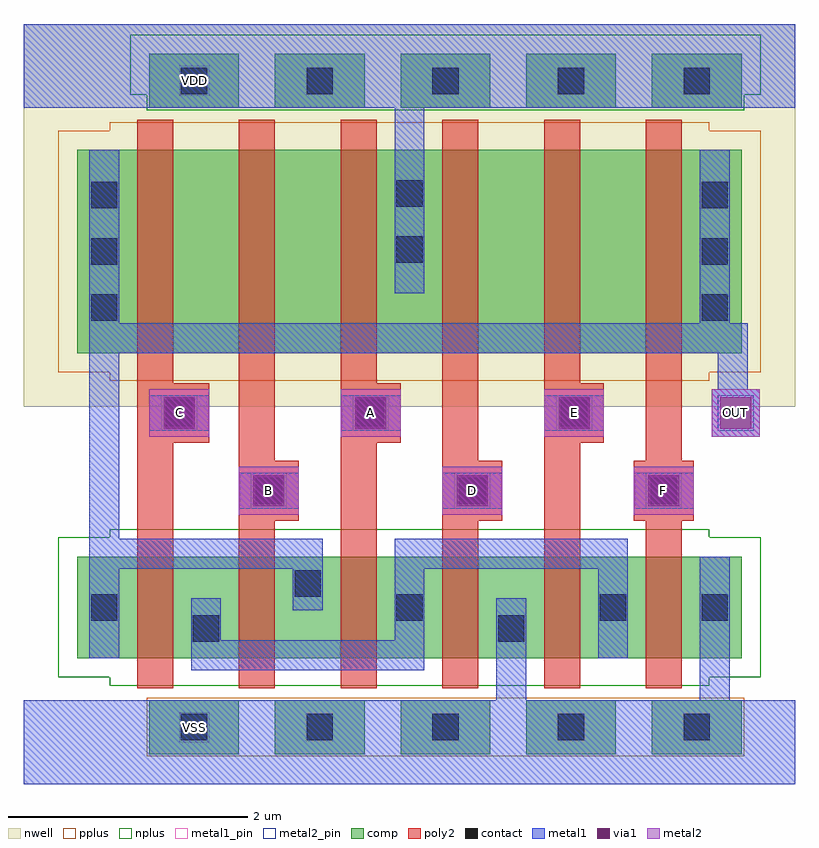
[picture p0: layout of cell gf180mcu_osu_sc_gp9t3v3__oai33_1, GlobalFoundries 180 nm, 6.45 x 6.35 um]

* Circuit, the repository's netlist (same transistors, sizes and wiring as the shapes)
** sch_path: /foss/designs/OAI33/Pre Layout/Schematic/gf180mcu_osu_sc_gp9t3v3__oai33_1.sch
.subckt gf180mcu_osu_sc_gp9t3v3__oai33_1 VDD A D B E F C OUT VSS
*.PININFO VDD:B VSS:B A:I OUT:O B:I C:I F:I D:I E:I
M1 OUT A net5 VSS nfet_03v3 L=0.3u W=0.85u nf=1 m=1
M7 OUT C net2 VDD pfet_03v3 L=0.3u W=1.7u nf=1 m=1
M2 OUT B net5 VSS nfet_03v3 L=0.3u W=0.85u nf=1 m=1
M3 OUT C net5 VSS nfet_03v3 L=0.3u W=0.85u nf=1 m=1
M4 net5 D VSS VSS nfet_03v3 L=0.3u W=0.85u nf=1 m=1
M5 net5 E VSS VSS nfet_03v3 L=0.3u W=0.85u nf=1 m=1
M6 net5 F VSS VSS nfet_03v3 L=0.3u W=0.85u nf=1 m=1
M8 net2 B net1 VDD pfet_03v3 L=0.3u W=1.7u nf=1 m=1
M9 net1 A VDD VDD pfet_03v3 L=0.3u W=1.7u nf=1 m=1
M10 OUT F net4 VDD pfet_03v3 L=0.3u W=1.7u nf=1 m=1
M11 net4 E net3 VDD pfet_03v3 L=0.3u W=1.7u nf=1 m=1
M12 net3 D VDD VDD pfet_03v3 L=0.3u W=1.7u nf=1 m=1
.ends

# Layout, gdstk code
import gdstk
lib = gdstk.Library(unit=1e-6, precision=1e-09)
def R(c, l, rs):  # rectangles x0, y0, x1, y1
    for r in rs: c.add(gdstk.rectangle(r[:2], r[2:], *l))
def A(c, l, x, y, w, h, nx, ny, dx, dy):  # array of equal rectangles
    R(c, l, [(x+i*dx, y+j*dy, x+i*dx+w, y+j*dy+h) for i in range(nx) for j in range(ny)])
nwell = (21, 0)
comp = (22, 0)
poly2 = (30, 0)
pplus = (31, 0)
nplus = (32, 0)
contact = (33, 0)
metal1 = (34, 0)
metal1_pin = (34, 10)
via1 = (35, 0)
metal2 = (36, 0)
metal2_pin = (36, 10)

gf180mcu_osu_sc_gp9t3v3_ = lib.new_cell('gf180mcu_osu_sc_gp9t3v3__oai33_1')
R(gf180mcu_osu_sc_gp9t3v3_, nwell, [(-3.1,3,3.35,6.2)])
A(gf180mcu_osu_sc_gp9t3v3_, comp, -2.05, 0.1, 0.75, 0.45, 5, 2, 1.05, 5.4)
R(gf180mcu_osu_sc_gp9t3v3_, comp, [(-2.65,0.9,2.9,1.75), (-2.65,3.45,2.9,5.15)])
A(gf180mcu_osu_sc_gp9t3v3_, poly2, -2.15, 0.65, 0.3, 2.05, 3, 1, 1.7, 0)
A(gf180mcu_osu_sc_gp9t3v3_, poly2, -1.3, 0.65, 0.3, 1.4, 3, 1, 1.7, 0)
A(gf180mcu_osu_sc_gp9t3v3_, poly2, -1.3, 2.55, 0.3, 2.85, 3, 1, 1.7, 0)
A(gf180mcu_osu_sc_gp9t3v3_, poly2, -2.15, 3.2, 0.3, 2.2, 3, 1, 1.7, 0)
R(gf180mcu_osu_sc_gp9t3v3_, poly2, [(-1.3,2.05,-0.8,2.55), (0.4,2.05,0.9,2.55), (2,2.05,2.5,2.55), (-2.15,2.7,-1.55,3.2), (-0.45,2.7,0.05,3.2), (1.25,2.7,1.75,3.2)])
R(gf180mcu_osu_sc_gp9t3v3_, pplus, [(-2.07,0.08,2.92,0.57), (-2.38,3.22,2.63,3.29), (-2.81,3.29,3.06,5.31), (-2.38,5.31,2.63,5.38)])
R(gf180mcu_osu_sc_gp9t3v3_, nplus, [(-2.38,0.67,2.63,0.74), (-2.81,0.74,3.06,1.91), (-2.38,1.91,2.63,1.98), (-2.07,5.48,2.92,5.61), (-2.21,5.61,3.06,6.11)])
A(gf180mcu_osu_sc_gp9t3v3_, contact, -1.785, 0.215, 0.22, 0.22, 5, 2, 1.05, 5.4)
A(gf180mcu_osu_sc_gp9t3v3_, contact, -2.535, 3.72, 0.22, 0.22, 1, 3, 0, 0.47)
A(gf180mcu_osu_sc_gp9t3v3_, contact, 2.565, 3.72, 0.22, 0.22, 1, 3, 0, 0.47)
R(gf180mcu_osu_sc_gp9t3v3_, contact, [(-1.685,1.04,-1.465,1.26), (0.865,1.04,1.085,1.26), (-2.535,1.215,-2.315,1.435), (0.015,1.215,0.235,1.435), (1.715,1.215,1.935,1.435), (2.565,1.215,2.785,1.435), (-0.835,1.415,-0.615,1.635), (-1.16,2.19,-0.94,2.41), (0.54,2.19,0.76,2.41), (2.14,2.19,2.36,2.41), (-1.91,2.84,-1.69,3.06), (-0.31,2.84,-0.09,3.06), (1.39,2.84,1.61,3.06), (0.015,4.205,0.235,4.425), (0.015,4.675,0.235,4.895)])
R(gf180mcu_osu_sc_gp9t3v3_, metal1, [(-3.1,-0.15,3.35,0.55), (0.85,0.55,1.1,1.4), (2.55,0.55,2.8,1.75), (-1.7,0.8,0.25,1.05), (-2.55,0.9,-2.3,1.65), (1.7,0.9,1.95,1.65), (-1.7,1.05,-1.45,1.4), (0,1.05,0.25,1.65), (-0.85,1.3,-0.6,1.65), (-2.55,1.65,-0.6,1.9), (0,1.65,1.95,1.9), (-2.55,1.9,-2.3,3.45), (-1.3,2.15,-0.8,2.45), (0.4,2.15,0.9,2.45), (2,2.15,2.5,2.45), (2.65,2.75,3.05,3.15), (-2.05,2.8,-1.55,3.1), (-0.45,2.8,0.05,3.1), (1.25,2.8,1.75,3.1), (2.7,3.15,2.95,3.45), (-2.55,3.45,2.95,3.7), (-2.55,3.7,-2.3,5.15), (2.55,3.7,2.8,5.15), (0,3.95,0.25,5.5), (-3.1,5.5,3.35,6.2)])
R(gf180mcu_osu_sc_gp9t3v3_, metal1_pin, [(-1.8,0.2,-1.55,0.45), (-1.8,5.6,-1.55,5.85)])
R(gf180mcu_osu_sc_gp9t3v3_, via1, [(-1.18,2.17,-0.92,2.43), (0.52,2.17,0.78,2.43), (2.12,2.17,2.38,2.43), (-1.93,2.82,-1.67,3.08), (-0.33,2.82,-0.07,3.08), (1.37,2.82,1.63,3.08), (2.72,2.82,2.98,3.08)])
R(gf180mcu_osu_sc_gp9t3v3_, metal2, [(-1.3,2.1,-0.8,2.5), (0.4,2.1,0.9,2.5), (2,2.1,2.5,2.5), (-2.05,2.75,-1.55,3.15), (-0.45,2.75,0.05,3.15), (1.25,2.75,1.75,3.15), (2.65,2.75,3.05,3.15)])
R(gf180mcu_osu_sc_gp9t3v3_, metal2_pin, [(-1.2,2.15,-0.9,2.45), (0.5,2.15,0.8,2.45), (2.1,2.15,2.4,2.45), (-1.95,2.8,-1.65,3.1), (-0.35,2.8,-0.05,3.1), (1.35,2.8,1.65,3.1), (2.7,2.8,3,3.1)])
gf180mcu_osu_sc_gp9t3v3_.add(gdstk.Label('A', (-0.2,2.95), layer=36, texttype=10))
gf180mcu_osu_sc_gp9t3v3_.add(gdstk.Label('B', (-1.05,2.3), layer=36, texttype=10))
gf180mcu_osu_sc_gp9t3v3_.add(gdstk.Label('C', (-1.8,2.95), layer=36, texttype=10))
gf180mcu_osu_sc_gp9t3v3_.add(gdstk.Label('D', (0.65,2.3), layer=36, texttype=10))
gf180mcu_osu_sc_gp9t3v3_.add(gdstk.Label('E', (1.5,2.95), layer=36, texttype=10))
gf180mcu_osu_sc_gp9t3v3_.add(gdstk.Label('F', (2.25,2.3), layer=36, texttype=10))
gf180mcu_osu_sc_gp9t3v3_.add(gdstk.Label('OUT', (2.85,2.95), layer=36, texttype=10))
gf180mcu_osu_sc_gp9t3v3_.add(gdstk.Label('VDD', (-1.675,5.725), layer=34, texttype=10))
gf180mcu_osu_sc_gp9t3v3_.add(gdstk.Label('VSS', (-1.675,0.325), layer=34, texttype=10))

lib.write_gds('gf180mcu_osu_sc_gp9t3v3__oai33_1.gds')
